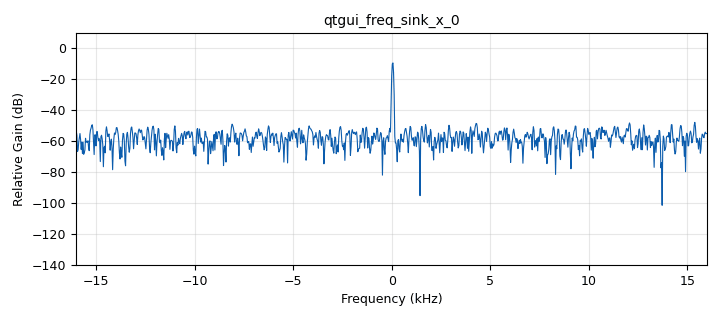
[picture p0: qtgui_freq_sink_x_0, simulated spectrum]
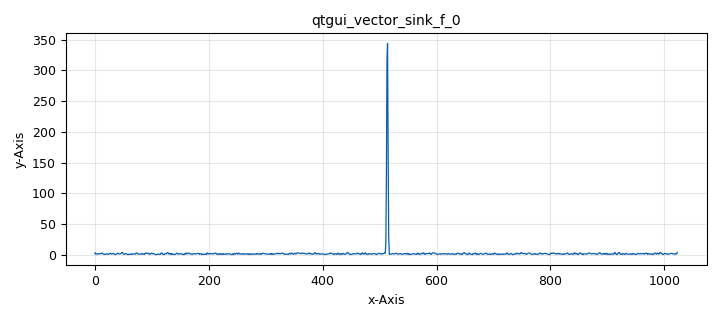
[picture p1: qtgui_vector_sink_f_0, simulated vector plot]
options:
  parameters:
    author: Diego
    generate_options: qt_gui
    id: Ocupacion
    output_language: python
    title: Not titled yet
  states: {}

blocks:
- name: F
  id: variable_qtgui_range
  parameters:
    label: Frecuencia
    start: '0'
    step: 1e3
    stop: 100e3
    value: '50'
  states: {}
- name: samp_rate
  id: variable
  parameters:
    value: '32000'
  states: {}
- name: analog_noise_source_x_0
  id: analog_noise_source_x
  parameters:
    amp: '.1'
    noise_type: analog.GR_GAUSSIAN
    seed: '0'
    type: complex
  states: {}
- name: analog_sig_source_x_0
  id: analog_sig_source_x
  parameters:
    amp: '1'
    freq: F
    offset: '0'
    phase: '0'
    samp_rate: samp_rate
    type: complex
    waveform: analog.GR_SIN_WAVE
  states: {}
- name: blocks_add_xx_0
  id: blocks_add_xx
  parameters:
    type: complex
  states: {}
- name: blocks_complex_to_mag_0
  id: blocks_complex_to_mag
  parameters:
    vlen: '1024'
  states: {}
- name: blocks_stream_to_vector_0
  id: blocks_stream_to_vector
  parameters:
    num_items: '1024'
    type: complex
  states: {}
- name: blocks_throttle_0
  id: blocks_throttle
  parameters:
    samples_per_second: samp_rate
    type: complex
  states: {}
- name: epy_block_0
  id: epy_block
  parameters:
    _source_code: "import numpy as np\nfrom gnuradio import gr\nimport sqlite3\nimport mysql\n\nclass blk(gr.sync_block):  # other base classes are basic_block, decim_block, interp_block\n    \"\"\"Bloque para almacenar la señal recibida en una base de datos SQLite\"\"\"\n\n    def __init__(self, db_file='signals.db', table_name='signal_data'):  \n        \"\"\"Constructor: Define los parámetros de la base de datos\"\"\"\n        gr.sync_block.__init__(\n            self,\n            name='SQLite Signal Storage Block',  # nombre del bloque en GRC\n            in_sig=[np.complex64],  # tipo de señal de entrada\n            out_sig=None  # no se necesita señal de salida\n        )\n        \n        # Almacenar los parámetros de la base de datos\n        self.db_file = db_file\n        self.table_name = table_name\n\n        # No se conecta aquí a la base de datos, se hará en cada work()\n\n    def work(self, input_items, output_items):\n        \"\"\"Almacena las partes real e imaginaria de la señal recibida en la base de datos\"\"\"\n        input_signal = input_items[0]\n\n        # Conectar a la base de datos SQLite cada vez que se llame a work()\n        conn = sqlite3.connect(self.db_file)\n        cursor = conn.cursor()\n\n        # Crear la tabla si no existe\n        create_table_query = f\"\"\"\n            CREATE TABLE IF NOT EXISTS {self.table_name} (\n                id INTEGER PRIMARY KEY AUTOINCREMENT,\n                real_part REAL,\n                imag_part REAL,\n                timestamp DATETIME DEFAULT CURRENT_TIMESTAMP\n            );\n        \"\"\"\n        cursor.execute(create_table_query)\n\n        # Preparar una lista de tuplas con los datos a insertar\n        data_to_insert = [(float(sample.real), float(sample.imag)) for sample in input_signal]\n\n        # Insertar los datos de la señal en la base de datos usando executemany para mayor eficiencia\n        insert_query = f\"INSERT INTO {self.table_name} (real_part, imag_part) VALUES (?, ?)\"\n        cursor.executemany(insert_query, data_to_insert)\n\n        # Confirmar la transacción después de insertar todas las muestras\n        conn.commit()\n\n        # Cerrar la conexión a la base de datos\n        cursor.close()\n        conn.close()\n\n        # Devolver el número de elementos de entrada procesados (todos)\n        return len(input_items[0])\n\n\n"
    db_file: '''signals.db'''
    table_name: '''signal_data'''
  states: {}
- name: fft_vxx_0
  id: fft_vxx
  parameters:
    fft_size: '1024'
    forward: 'True'
    shift: 'True'
    type: complex
    window: window.blackmanharris(1024)
  states: {}
- name: qtgui_freq_sink_x_0
  id: qtgui_freq_sink_x
  parameters:
    bw: samp_rate
    fc: '0'
    fftsize: '1024'
    type: complex
  states: {}
- name: qtgui_time_sink_x_0
  id: qtgui_time_sink_x
  parameters:
    autoscale: 'True'
    size: '1'
    srate: samp_rate
    type: complex
  states: {state: disabled}
- name: qtgui_time_sink_x_1
  id: qtgui_time_sink_x
  parameters:
    autoscale: 'True'
    size: '1024'
    srate: samp_rate
    type: complex
  states: {state: disabled}
- name: qtgui_vector_sink_f_0
  id: qtgui_vector_sink_f
  parameters:
    autoscale: 'True'
    grid: 'True'
    vlen: '1024'
    x_start: '0'
    x_step: '1.0'
  states: {}
- name: uhd_usrp_source_0
  id: uhd_usrp_source
  parameters:
    ant0: '"RX2"'
    center_freq0: '0'
    gain0: '0'
    samp_rate: samp_rate
    sync: sync
    type: fc32
  states: {state: disabled}

connections:
- [analog_noise_source_x_0, '0', blocks_add_xx_0, '1']
- [analog_sig_source_x_0, '0', blocks_add_xx_0, '0']
- [blocks_add_xx_0, '0', blocks_throttle_0, '0']
- [blocks_complex_to_mag_0, '0', qtgui_time_sink_x_0, '0']
- [blocks_complex_to_mag_0, '0', qtgui_vector_sink_f_0, '0']
- [blocks_stream_to_vector_0, '0', fft_vxx_0, '0']
- [blocks_throttle_0, '0', blocks_stream_to_vector_0, '0']
- [blocks_throttle_0, '0', epy_block_0, '0']
- [blocks_throttle_0, '0', qtgui_freq_sink_x_0, '0']
- [blocks_throttle_0, '0', qtgui_time_sink_x_1, '0']
- [fft_vxx_0, '0', blocks_complex_to_mag_0, '0']
- [uhd_usrp_source_0, '0', blocks_throttle_0, '0']

metadata:
  file_format: 1
  grc_version: 3.10.5.1
